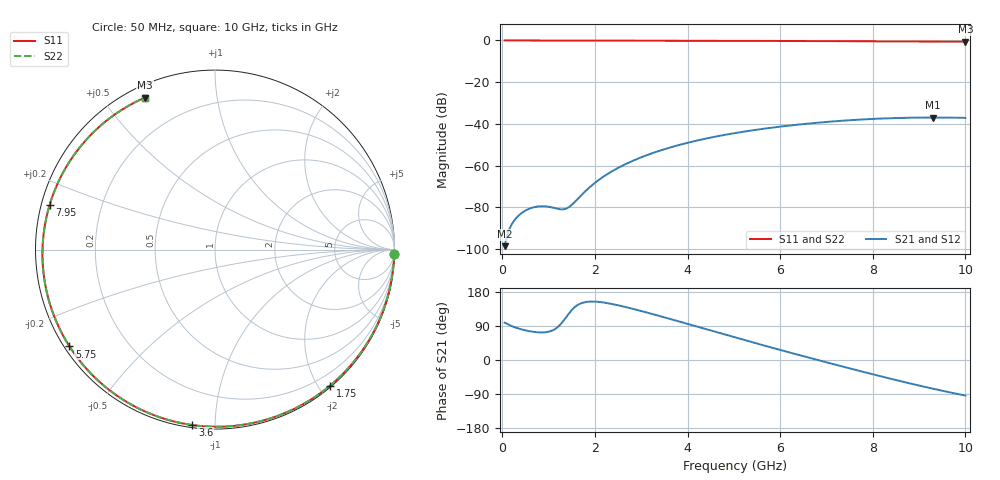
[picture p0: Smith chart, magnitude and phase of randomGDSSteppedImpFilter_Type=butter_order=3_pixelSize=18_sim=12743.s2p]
! freq	dB(S11)	phase(S11)	dB(S12)	phase(S12)
!  dB(S21)	phase(S21)	dB(S22)	phase(S22)
!S-par simulation data
#  GHz  S  DB  R 50
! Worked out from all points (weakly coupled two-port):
!   200 points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, 50 MHz to 10 GHz, reference 50 ohm
!   highest |S21| = -36.97 dB at 9.3 GHz (marker M1); lowest = -98.6 dB at 50 MHz (marker M2)
!   lowest |S11| = -0.6 dB at 10 GHz (marker M3), VSWR 28.63, Z = 2.46 + j32 ohm
!   |S11| at or under -10 dB: nowhere
!   |S22| runs from -0.6 to 0.0 dB; largest |S21 - S12| = 0
!   S11 on the Smith chart (normalised r, x): 50 MHz: 2, -81; 1.75 GHz: 0.02, -2.15; 3.6 GHz: 0.01, -0.88; 5.75 GHz: 0.01, -0.30; 7.95 GHz: 0.02, +0.13; 10 GHz: 0.05, +0.64
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0.05  -0.01 -1.4  -98.64 98.2  -98.64 98.2  -0.01 -1.4
0.7  -0.03 -20.3  -79.89 73.9  -79.89 73.9  -0.03 -20.3
0.85  -0.03 -24.6  -79.49 72.7  -79.49 72.7  -0.03 -24.6
1.4  -0.05 -40.2  -80.43 116.7  -80.43 116.7  -0.05 -40.2
1.45  -0.05 -41.5  -79.74 124.8  -79.74 124.8  -0.05 -41.5
1.5  -0.05 -42.9  -78.83 132.1  -78.83 132.1  -0.05 -42.9
1.75  -0.06 -49.8  -73.22 151.6  -73.22 151.6  -0.06 -49.8
2.05  -0.07 -57.9  -67.43 153.7  -67.43 153.7  -0.07 -57.9
2.45  -0.09 -68.5  -61.72 145.8  -61.72 145.8  -0.09 -68.5
2.9  -0.10 -80.1  -56.93 132.5  -56.93 132.5  -0.10 -80.1
3.4  -0.12 -92.5  -52.86 116.0  -52.86 116.0  -0.12 -92.5
3.6  -0.12 -97.4  -51.48 109.2  -51.48 109.2  -0.12 -97.4
4.3  -0.15 -113.9  -47.51 84.8  -47.51 84.8  -0.15 -113.9
5.05  -0.19 -130.9  -44.32 58.8  -44.32 58.8  -0.19 -130.9
5.75  -0.23 -146.4  -42.02 35.0  -42.02 35.0  -0.23 -146.4
6.7  -0.30 -167.1  -39.67 3.6  -39.67 3.6  -0.30 -167.1
7.35  -0.35 178.5  -38.48 -17.3  -38.48 -17.3  -0.35 178.5
7.95  -0.40 165.0  -37.68 -36.2  -37.68 -36.2  -0.40 165.0
8.35  -0.44 155.7  -37.31 -48.4  -37.31 -48.4  -0.44 155.7
8.8  -0.49 145.0  -37.06 -61.7  -37.06 -61.7  -0.49 145.0
9.3  -0.54 132.7  -36.97 -75.8  -36.97 -75.8  -0.54 132.7
10  -0.61 114.7  -37.12 -93.8  -37.12 -93.8  -0.61 114.7
